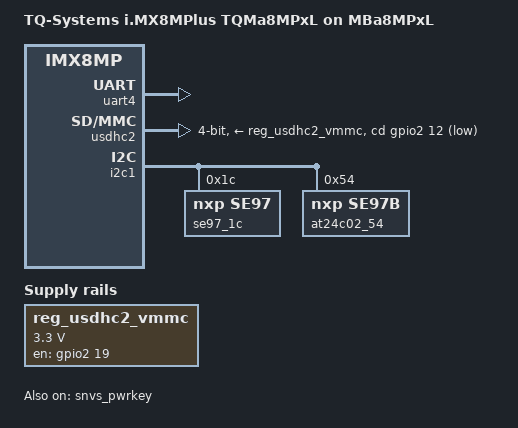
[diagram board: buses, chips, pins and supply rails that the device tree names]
// SPDX-License-Identifier: GPL-2.0-or-later OR MIT
/*
 * Copyright 2021 TQ-Systems GmbH
 */

/dts-v1/;

#include "imx8mp-tqma8mpxl.dtsi"

/ {
	model = "TQ-Systems i.MX8MPlus TQMa8MPxL on MBa8MPxL";
	compatible = "tq,imx8mp-mba8mpxl", "tq,imx8mp-tqma8mpxl", "fsl,imx8mp";

	aliases {
		mmc0 = &usdhc3;
		mmc1 = &usdhc2;
		mmc2 = &usdhc1;
	};

	chosen {
		bootargs = "console=ttymxc3,115200 earlycon=ec_imx6q,30a60000,115200";
		stdout-path = &uart4;
	};

	reg_usdhc2_vmmc: regulator-usdhc2 {
		compatible = "regulator-fixed";
		pinctrl-names = "default";
		pinctrl-0 = <&pinctrl_reg_usdhc2_vmmc>;
		regulator-name = "VSD_3V3";
		regulator-min-microvolt = <3300000>;
		regulator-max-microvolt = <3300000>;
		gpio = <&gpio2 19 GPIO_ACTIVE_HIGH>;
		enable-active-high;
		startup-delay-us = <100>;
		off-on-delay-us = <12000>;
	};
};

&snvs_pwrkey {
	status = "okay";
};

&uart4 {
	/* console */
	pinctrl-names = "default";
	pinctrl-0 = <&pinctrl_uart4>;
	status = "okay";
};

&usdhc2 {
	pinctrl-names = "default", "state_100mhz", "state_200mhz";
	pinctrl-0 = <&pinctrl_usdhc2>, <&pinctrl_usdhc2_gpio>;
	pinctrl-1 = <&pinctrl_usdhc2_100mhz>, <&pinctrl_usdhc2_gpio>;
	pinctrl-2 = <&pinctrl_usdhc2_200mhz>, <&pinctrl_usdhc2_gpio>;
	cd-gpios = <&gpio2 12 GPIO_ACTIVE_LOW>;
	vmmc-supply = <&reg_usdhc2_vmmc>;
	no-mmc;
	no-sdio;
	bus-width = <4>;
	status = "okay";
};

&i2c1 {
	/* NXP SE97BTP with temperature sensor + eeprom */
	se97_1c: temperature-sensor-eeprom@1c {
		compatible = "nxp,se97", "jedec,jc-42.4-temp";
		reg = <0x1c>;
	};

	at24c02_54: eeprom@54 {
		compatible = "nxp,se97b", "atmel,24c02";
		reg = <0x54>;
		pagesize = <16>;
	};
};

&iomuxc {
	pinctrl_uart4: uart4grp {
		fsl,pins = <
			MX8MP_IOMUXC_UART4_RXD__UART4_DCE_RX	0x49
			MX8MP_IOMUXC_UART4_TXD__UART4_DCE_TX	0x49
		>;
	};

	pinctrl_usdhc2: usdhc2grp {
		fsl,pins = <
			MX8MP_IOMUXC_SD2_CLK__USDHC2_CLK	0x190
			MX8MP_IOMUXC_SD2_CMD__USDHC2_CMD	0x1d0
			MX8MP_IOMUXC_SD2_DATA0__USDHC2_DATA0	0x1d0
			MX8MP_IOMUXC_SD2_DATA1__USDHC2_DATA1	0x1d0
			MX8MP_IOMUXC_SD2_DATA2__USDHC2_DATA2	0x1d0
			MX8MP_IOMUXC_SD2_DATA3__USDHC2_DATA3	0x1d0
			MX8MP_IOMUXC_GPIO1_IO04__USDHC2_VSELECT	0xc1
		>;
	};

	pinctrl_usdhc2_100mhz: usdhc2grp-100mhz {
		fsl,pins = <
			MX8MP_IOMUXC_SD2_CLK__USDHC2_CLK	0x194
			MX8MP_IOMUXC_SD2_CMD__USDHC2_CMD	0x1d4
			MX8MP_IOMUXC_SD2_DATA0__USDHC2_DATA0	0x1d4
			MX8MP_IOMUXC_SD2_DATA1__USDHC2_DATA1	0x1d4
			MX8MP_IOMUXC_SD2_DATA2__USDHC2_DATA2	0x1d4
			MX8MP_IOMUXC_SD2_DATA3__USDHC2_DATA3	0x1d4
			MX8MP_IOMUXC_GPIO1_IO04__USDHC2_VSELECT 0xc1
		>;
	};

	pinctrl_usdhc2_200mhz: usdhc2grp-200mhz {
		fsl,pins = <
			MX8MP_IOMUXC_SD2_CLK__USDHC2_CLK	0x196
			MX8MP_IOMUXC_SD2_CMD__USDHC2_CMD	0x1d6
			MX8MP_IOMUXC_SD2_DATA0__USDHC2_DATA0	0x1d6
			MX8MP_IOMUXC_SD2_DATA1__USDHC2_DATA1	0x1d6
			MX8MP_IOMUXC_SD2_DATA2__USDHC2_DATA2	0x1d6
			MX8MP_IOMUXC_SD2_DATA3__USDHC2_DATA3	0x1d6
			MX8MP_IOMUXC_GPIO1_IO04__USDHC2_VSELECT 0xc1
		>;
	};

	pinctrl_usdhc2_gpio: usdhc2grp-gpio {
		fsl,pins = <
			MX8MP_IOMUXC_SD2_CD_B__GPIO2_IO12	0x1c4
		>;
	};
};
